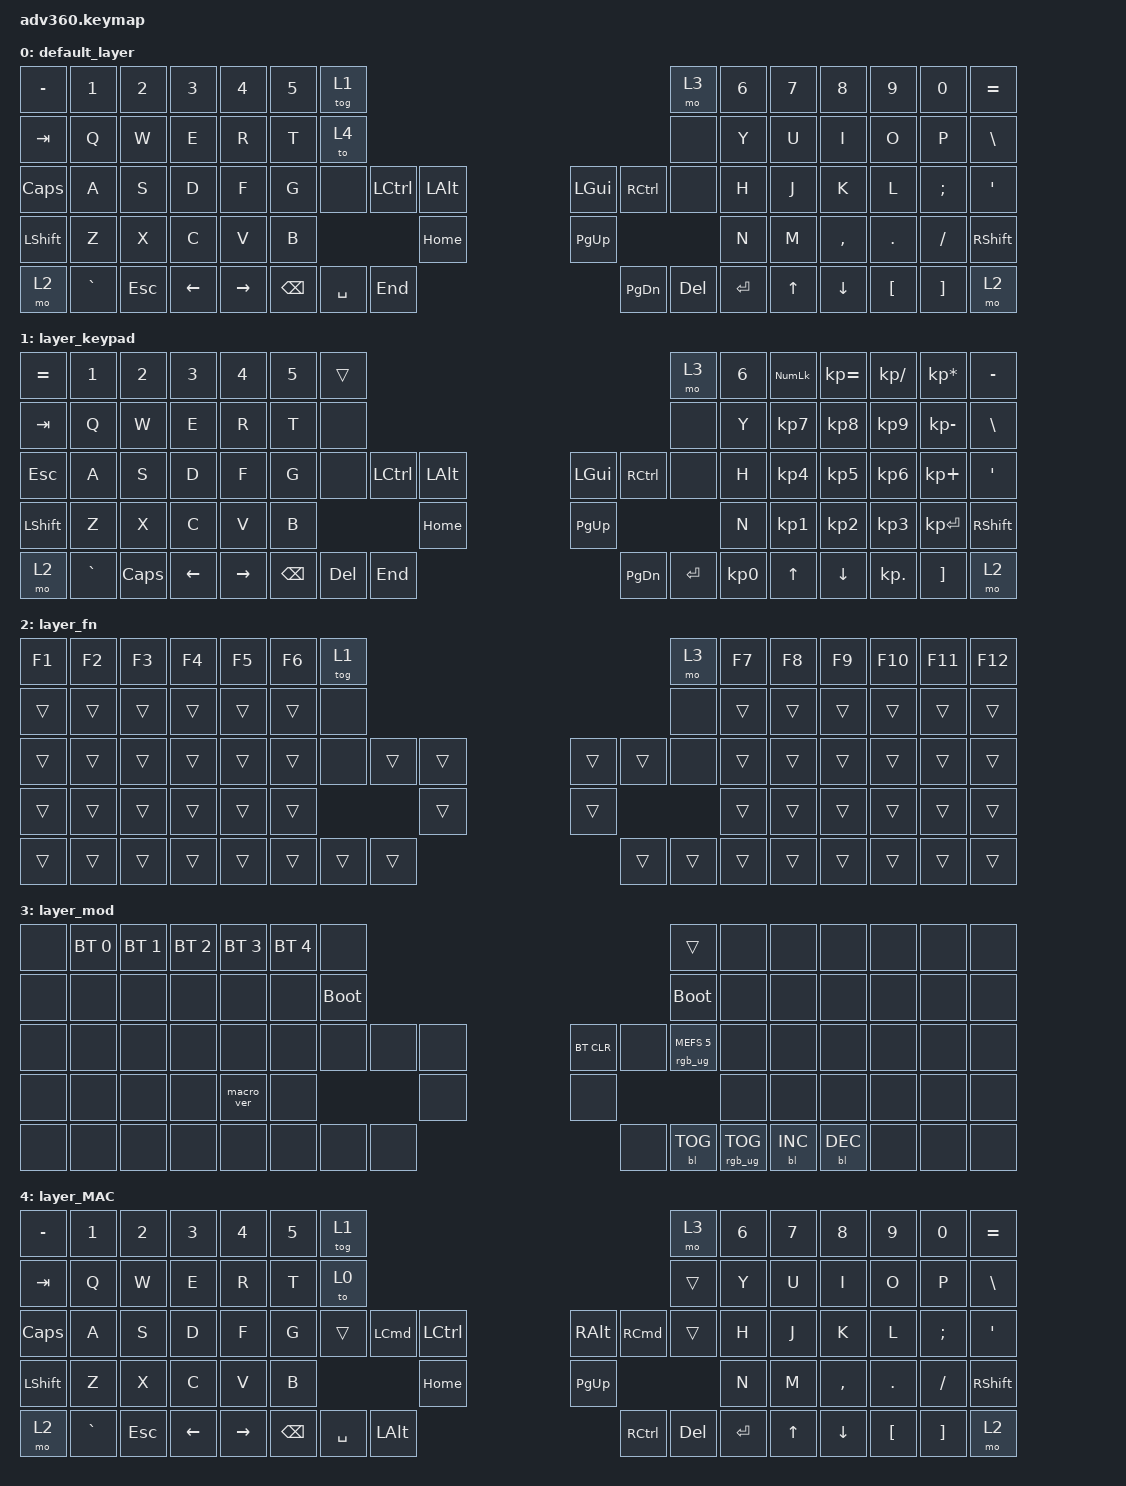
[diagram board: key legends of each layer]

/*
 * Copyright (c) 2020 The ZMK Contributors
 *
 * SPDX-License-Identifier: MIT
 */


/* THIS FILE WAS GENERATED!
 *
 * This file was generated automatically. You may or may not want to
 * edit it directly.
 */

#include <behaviors.dtsi>
#include <dt-bindings/zmk/keys.h>
#include <dt-bindings/zmk/bt.h>
#include <dt-bindings/zmk/rgb.h>
#include <dt-bindings/zmk/backlight.h>

/ {
  behaviors {
    #include "macros.dtsi"
    #include "version.dtsi"

    hm: homerow_mods {
        compatible = "zmk,behavior-hold-tap";
        label = "HOMEROW_MODS";
        #binding-cells = <2>;
        tapping-term-ms = <200>;
        quick_tap_ms = <175>;
        flavor = "tap-preferred";
        bindings = <&kp>, <&kp>;
    };
  };

    keymap {
        compatible = "zmk,keymap";


        default_layer {
            bindings = <
 &kp MINUS     &kp N1   &kp N2    &kp N3     &kp N4  &kp N5              &tog 1                                                                 &mo 3  &kp N6  &kp N7     &kp N8    &kp N9    &kp N0  &kp EQUAL
   &kp TAB      &kp Q    &kp W     &kp E      &kp R   &kp T               &to 4                                                                 &none   &kp Y   &kp U      &kp I     &kp O     &kp P   &kp BSLH
  &kp CAPS      &kp A    &kp S     &kp D      &kp F   &kp G               &none  &kp LCTRL  &kp LALT                   &kp LGUI  &kp RCTRL      &none   &kp H   &kp J      &kp K     &kp L  &kp SEMI    &kp SQT
 &kp LSHFT      &kp Z    &kp X     &kp C      &kp V   &kp B                                 &kp HOME                  &kp PG_UP                         &kp N   &kp M  &kp COMMA   &kp DOT  &kp FSLH  &kp RSHFT
     &mo 2  &kp GRAVE  &kp ESC  &kp LEFT  &kp RIGHT                    &kp BSPC  &kp SPACE   &kp END                  &kp PG_DN    &kp DEL  &kp ENTER          &kp UP   &kp DOWN  &kp LBKT  &kp RBKT      &mo 2
            >;
        };

        layer_keypad {
            bindings = <
 &kp EQUAL     &kp N1    &kp N2    &kp N3     &kp N4  &kp N5              &trans                                                                 &mo 3  &kp N6  &kp KP_NUM  &kp KP_EQUAL  &kp KP_DIVIDE  &kp KP_MULTIPLY  &kp MINUS
   &kp TAB      &kp Q     &kp W     &kp E      &kp R   &kp T               &none                                                                 &none   &kp Y   &kp KP_N7     &kp KP_N8      &kp KP_N9     &kp KP_MINUS   &kp BSLH
   &kp ESC      &kp A     &kp S     &kp D      &kp F   &kp G               &none  &kp LCTRL  &kp LALT                   &kp LGUI  &kp RCTRL      &none   &kp H   &kp KP_N4     &kp KP_N5      &kp KP_N6      &kp KP_PLUS    &kp SQT
 &kp LSHFT      &kp Z     &kp X     &kp C      &kp V   &kp B                                 &kp HOME                  &kp PG_UP                         &kp N   &kp KP_N1     &kp KP_N2      &kp KP_N3     &kp KP_ENTER  &kp RSHFT
     &mo 2  &kp GRAVE  &kp CAPS  &kp LEFT  &kp RIGHT                    &kp BSPC    &kp DEL   &kp END                  &kp PG_DN  &kp ENTER  &kp KP_N0              &kp UP      &kp DOWN     &kp KP_DOT         &kp RBKT      &mo 2
            >;
        };

        layer_fn {
            bindings = <
 &kp F1  &kp F2  &kp F3  &kp F4  &kp F5  &kp F6            &tog 1                                                   &mo 3  &kp F7  &kp F8  &kp F9  &kp F10  &kp F11  &kp F12
 &trans  &trans  &trans  &trans  &trans  &trans             &none                                                   &none  &trans  &trans  &trans   &trans   &trans   &trans
 &trans  &trans  &trans  &trans  &trans  &trans             &none  &trans  &trans                  &trans  &trans   &none  &trans  &trans  &trans   &trans   &trans   &trans
 &trans  &trans  &trans  &trans  &trans  &trans                            &trans                  &trans                  &trans  &trans  &trans   &trans   &trans   &trans
 &trans  &trans  &trans  &trans  &trans                    &trans  &trans  &trans                  &trans  &trans  &trans          &trans  &trans   &trans   &trans   &trans
            >;
        };

        layer_mod {
            bindings = <
  &none  &bt BT_SEL 0  &bt BT_SEL 1  &bt BT_SEL 2  &bt BT_SEL 3  &bt BT_SEL 4                  &none                                                                          &trans   &none       &none       &none   &none   &none   &none
  &none         &none         &none         &none         &none         &none            &bootloader                                                                     &bootloader   &none       &none       &none   &none   &none   &none
  &none         &none         &none         &none         &none         &none                  &none   &none   &none                  &bt BT_CLR       &none  &rgb_ug RGB_MEFS_CMD 5   &none       &none       &none   &none   &none   &none
  &none         &none         &none         &none    &macro_ver         &none                                  &none                       &none                                       &none       &none       &none   &none   &none   &none
  &none         &none         &none         &none         &none                                &none   &none   &none                       &none  &bl BL_TOG         &rgb_ug RGB_TOG          &bl BL_INC  &bl BL_DEC   &none   &none   &none
            >;
        };

        layer_MAC {
            bindings = <
      &kp MINUS     &kp N1      &kp N2          &kp N3           &kp N4  &kp N5              &tog 1                                                                                         &mo 3  &kp N6        &kp N7          &kp N8            &kp N9             &kp N0        &kp EQUAL
        &kp TAB      &kp Q       &kp W           &kp E            &kp R   &kp T               &to 0                                                                                        &trans   &kp Y         &kp U           &kp I             &kp O              &kp P    &kp BACKSLASH
       &kp CAPS      &kp A       &kp S           &kp D            &kp F   &kp G              &trans  &kp LEFT_COMMAND  &kp LCTRL                           &kp RALT  &kp RIGHT_COMMAND     &trans   &kp H         &kp J           &kp K             &kp L      &kp SEMICOLON   &kp APOSTROPHE
 &kp LEFT_SHIFT      &kp Z       &kp X           &kp C            &kp V   &kp B                                         &kp HOME                        &kp PAGE_UP                                 &kp N         &kp M       &kp COMMA        &kp PERIOD          &kp SLASH  &kp RIGHT_SHIFT
          &mo 2  &kp GRAVE  &kp ESCAPE  &kp LEFT_ARROW  &kp RIGHT_ARROW                    &kp BSPC         &kp SPACE   &kp LALT                  &kp RIGHT_CONTROL            &kp DEL  &kp ENTER          &kp UP_ARROW  &kp DOWN_ARROW  &kp LEFT_BRACKET  &kp RIGHT_BRACKET            &mo 2
            >;
        };

    };
};
